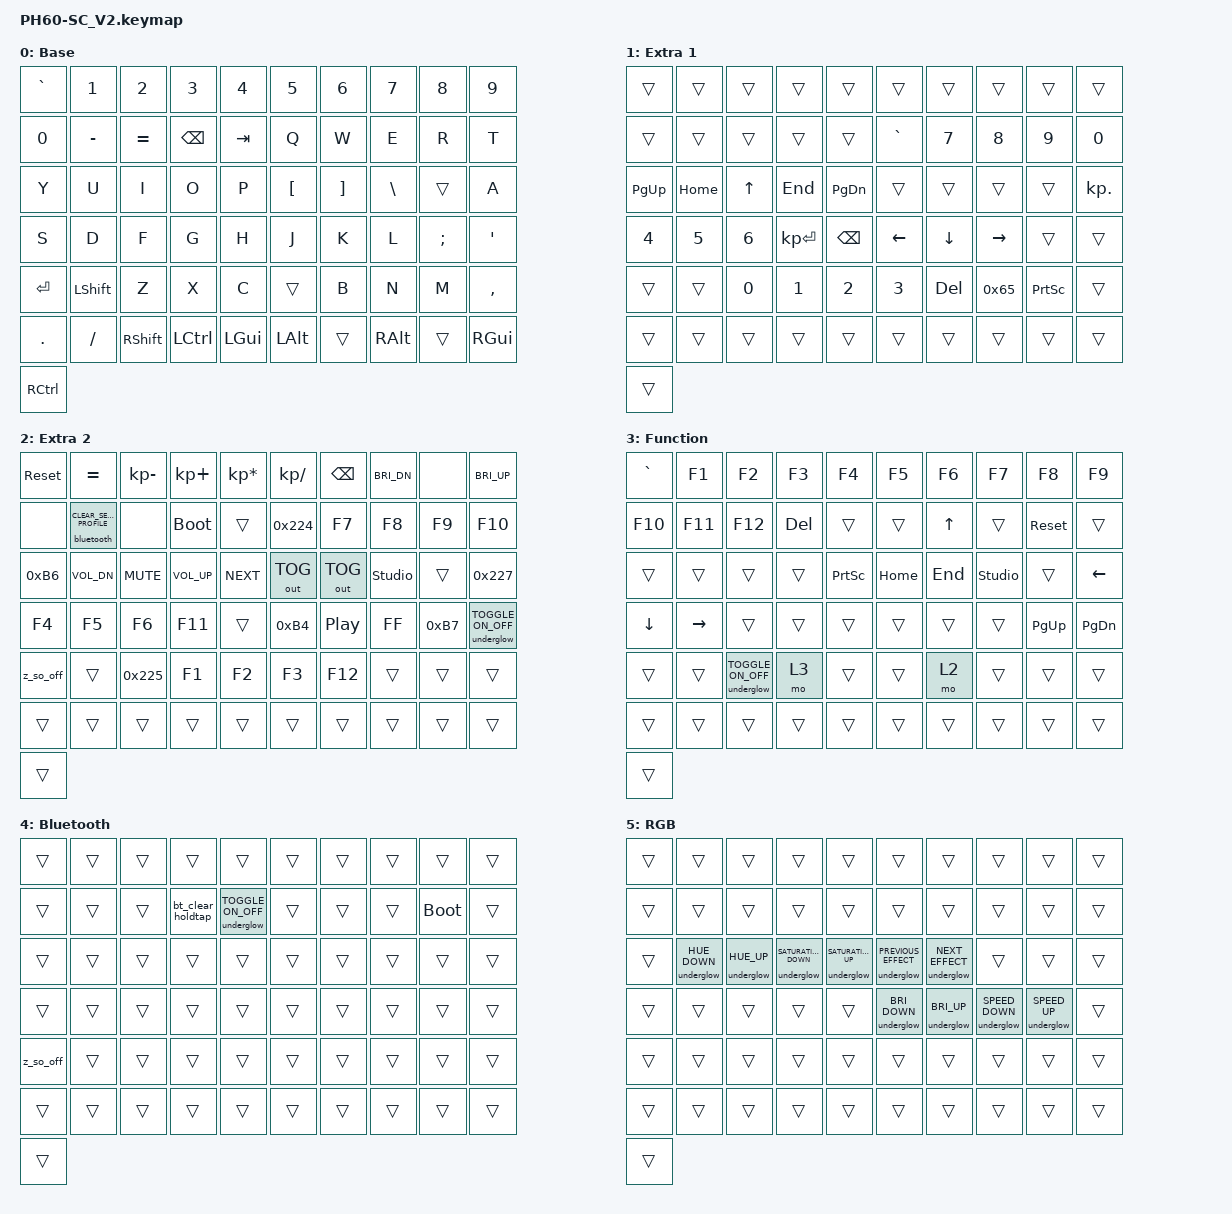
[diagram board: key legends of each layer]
// Generated by ZMK Studio VSCode Extension
// Device:   PH60-SC_V2
// Exported: 2026-08-18T12:25:50.003Z
//
// Verify these #includes match your keyboard's actual config.
// Behaviors substituted with &trans are marked at the bottom of this file.

#include <behaviors.dtsi>
#include <dt-bindings/zmk/keys.h>
#include <dt-bindings/zmk/bt.h>
#include <dt-bindings/zmk/mouse.h>
#include <dt-bindings/zmk/outputs.h>
#include <dt-bindings/zmk/ext_power.h>

/ {
    keymap {
        compatible = "zmk,keymap";

        layer_0_Base {
            display-name = "Base";
            bindings = <
                &kp GRAVE  &kp N1  &kp N2  &kp N3  &kp N4  &kp N5  &kp N6  &kp N7  &kp N8  &kp N9
                &kp N0  &kp MINUS  &kp EQUAL  &kp BSPC  &kp TAB  &kp Q  &kp W  &kp E  &kp R  &kp T
                &kp Y  &kp U  &kp I  &kp O  &kp P  &kp LBKT  &kp RBKT  &kp BSLH  &trans  &kp A
                &kp S  &kp D  &kp F  &kp G  &kp H  &kp J  &kp K  &kp L  &kp SEMI  &kp SQT
                &kp RET  &kp LSHFT  &kp Z  &kp X  &kp C  &trans  &kp B  &kp N  &kp M  &kp COMMA
                &kp DOT  &kp FSLH  &kp RSHFT  &kp LCTRL  &kp LGUI  &kp LALT  &trans  &kp RALT  &trans  &kp RGUI
                &kp RCTRL
            >;
        };

        layer_1_Extra_1 {
            display-name = "Extra 1";
            bindings = <
                &trans  &trans  &trans  &trans  &trans  &trans  &trans  &trans  &trans  &trans
                &trans  &trans  &trans  &trans  &trans  &kp GRAVE  &kp N7  &kp N8  &kp N9  &kp N0
                &kp PG_UP  &kp HOME  &kp UP  &kp END  &kp PG_DN  &trans  &trans  &trans  &trans  &kp KP_DOT
                &kp N4  &kp N5  &kp N6  &kp KP_ENTER  &kp BSPC  &kp LEFT  &kp DOWN  &kp RIGHT  &trans  &trans
                &trans  &trans  &kp N0  &kp N1  &kp N2  &kp N3  &kp DEL  &kp 0x65  &kp PSCRN  &trans
                &trans  &trans  &trans  &trans  &trans  &trans  &trans  &trans  &trans  &trans
                &trans
            >;
        };

        layer_2_Extra_2 {
            display-name = "Extra 2";
            bindings = <
                &sys_reset  &kp EQUAL  &kp KP_MINUS  &kp KP_PLUS  &kp KP_MULTIPLY  &kp KP_SLASH  &kp BSPC  &kp C_BRI_DN  &none  &kp C_BRI_UP
                &none  &bluetooth CLEAR_SELECTED_PROFILE  &none  &bootloader  &trans  &kp 0x224  &kp F7  &kp F8  &kp F9  &kp F10
                &kp 0xB6  &kp C_VOL_DN  &kp C_MUTE  &kp C_VOL_UP  &kp C_NEXT  &out OUT_TOG  &out OUT_TOG  &studio_unlock  &trans  &kp 0x227
                &kp F4  &kp F5  &kp F6  &kp F11  &trans  &kp 0xB4  &kp C_PP  &kp C_FF  &kp 0xB7  &underglow TOGGLE_ON_OFF
                &z_so_off  &trans  &kp 0x225  &kp F1  &kp F2  &kp F3  &kp F12  &trans  &trans  &trans
                &trans  &trans  &trans  &trans  &trans  &trans  &trans  &trans  &trans  &trans
                &trans
            >;
        };

        layer_3_Function {
            display-name = "Function";
            bindings = <
                &kp GRAVE  &kp F1  &kp F2  &kp F3  &kp F4  &kp F5  &kp F6  &kp F7  &kp F8  &kp F9
                &kp F10  &kp F11  &kp F12  &kp DEL  &trans  &trans  &kp UP  &trans  &sys_reset  &trans
                &trans  &trans  &trans  &trans  &kp PSCRN  &kp HOME  &kp END  &studio_unlock  &trans  &kp LEFT
                &kp DOWN  &kp RIGHT  &trans  &trans  &trans  &trans  &trans  &trans  &kp PG_UP  &kp PG_DN
                &trans  &trans  &underglow TOGGLE_ON_OFF  &mo 3  &trans  &trans  &mo 2  &trans  &trans  &trans
                &trans  &trans  &trans  &trans  &trans  &trans  &trans  &trans  &trans  &trans
                &trans
            >;
        };

        layer_4_Bluetooth {
            display-name = "Bluetooth";
            bindings = <
                &trans  &trans  &trans  &trans  &trans  &trans  &trans  &trans  &trans  &trans
                &trans  &trans  &trans  &bt_clear_holdtap  &underglow TOGGLE_ON_OFF  &trans  &trans  &trans  &bootloader  &trans
                &trans  &trans  &trans  &trans  &trans  &trans  &trans  &trans  &trans  &trans
                &trans  &trans  &trans  &trans  &trans  &trans  &trans  &trans  &trans  &trans
                &z_so_off  &trans  &trans  &trans  &trans  &trans  &trans  &trans  &trans  &trans
                &trans  &trans  &trans  &trans  &trans  &trans  &trans  &trans  &trans  &trans
                &trans
            >;
        };

        layer_5_RGB {
            display-name = "RGB";
            bindings = <
                &trans  &trans  &trans  &trans  &trans  &trans  &trans  &trans  &trans  &trans
                &trans  &trans  &trans  &trans  &trans  &trans  &trans  &trans  &trans  &trans
                &trans  &underglow HUE_DOWN  &underglow HUE_UP  &underglow SATURATION_DOWN  &underglow SATURATION_UP  &underglow PREVIOUS_EFFECT  &underglow NEXT_EFFECT  &trans  &trans  &trans
                &trans  &trans  &trans  &trans  &trans  &underglow BRIGHTNESS_DOWN  &underglow BRIGHTNESS_UP  &underglow SPEED_DOWN  &underglow SPEED_UP  &trans
                &trans  &trans  &trans  &trans  &trans  &trans  &trans  &trans  &trans  &trans
                &trans  &trans  &trans  &trans  &trans  &trans  &trans  &trans  &trans  &trans
                &trans
            >;
        };

    };
};

// ── Unknown behaviors (substituted with &trans) ─────────────────
//  pos 28: "Layer-Tap" (id=29, p1=5, p2=458809) — substituted &trans
//  pos 45: "Layer-Tap" (id=29, p1=5, p2=458777) — substituted &trans
//  pos 56: "Layer-Tap" (id=29, p1=4, p2=458796) — substituted &trans
//  pos 58: "Layer-Tap" (id=29, p1=5, p2=786481) — substituted &trans
//  pos 28: "Layer-Tap" (id=29, p1=5, p2=458793) — substituted &trans
//  pos 34: "Bluetooth" (id=21, p1=3, p2=0) — substituted &trans
//  pos 47: "Bluetooth" (id=21, p1=3, p2=1) — substituted &trans
//  pos 48: "Bluetooth" (id=21, p1=3, p2=2) — substituted &trans
//  pos 49: "Bluetooth" (id=21, p1=3, p2=3) — substituted &trans
//  pos 50: "Bluetooth" (id=21, p1=3, p2=4) — substituted &trans
//  pos 51: "Bluetooth" (id=21, p1=3, p2=5) — substituted &trans
//  pos 1: "Bluetooth" (id=21, p1=3, p2=0) — substituted &trans
//  pos 2: "Bluetooth" (id=21, p1=3, p2=1) — substituted &trans
//  pos 3: "Bluetooth" (id=21, p1=3, p2=2) — substituted &trans
//  pos 4: "Bluetooth" (id=21, p1=3, p2=3) — substituted &trans
//  pos 5: "Bluetooth" (id=21, p1=3, p2=4) — substituted &trans
